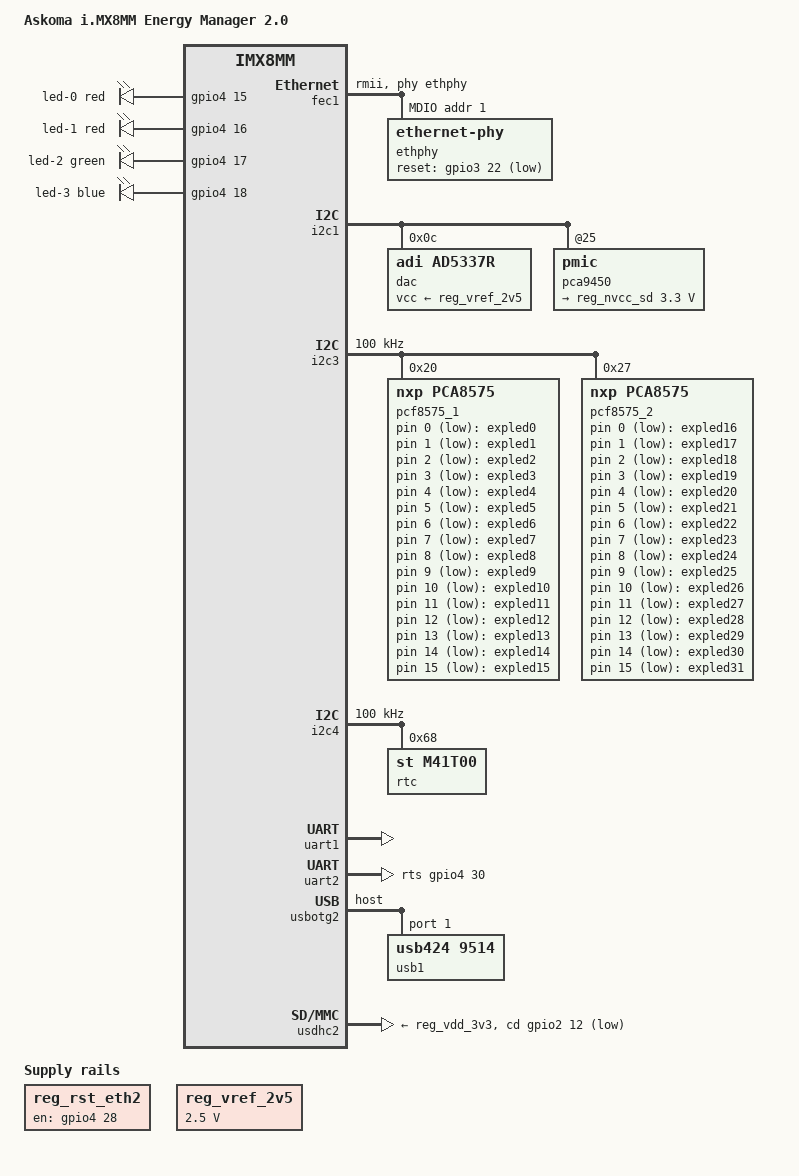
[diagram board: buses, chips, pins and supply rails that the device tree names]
// SPDX-License-Identifier: GPL-2.0+ OR MIT
/*
 * Copyright (C) 2019 Kontron Electronics GmbH
 */

/dts-v1/;

#include "imx8mm-kontron-n801x-som.dtsi"
#include <dt-bindings/leds/common.h>
/ {
	model = "Askoma i.MX8MM Energy Manager 2.0";
	compatible = "askoma,imx8mm-energy-manager", "kontron,imx8mm-n801x-som", "fsl,imx8mm";

	aliases {
		ethernet1 = &usbnet;
		mmc0 = &usdhc1;
		mmc1 = &usdhc2;
	};

	led-controller {
		compatible = "gpio-leds";
		pinctrl-names = "default";
		pinctrl-0 = <&pinctrl_gpio_leds>;

		led-0 {
			function = LED_FUNCTION_STATUS;
			color = <LED_COLOR_ID_RED>;
			gpios = <&gpio4 15 GPIO_ACTIVE_HIGH>;
			default-state = "on";
			linux,default-trigger = "off";
		};

		led-1 {
			function = LED_FUNCTION_STATUS;
			color = <LED_COLOR_ID_RED>;
			gpios = <&gpio4 16 GPIO_ACTIVE_HIGH>;
			default-state = "off";
		};

		led-2 {
			function = LED_FUNCTION_STATUS;
			color = <LED_COLOR_ID_GREEN>;
			gpios = <&gpio4 17 GPIO_ACTIVE_HIGH>;
			default-state = "off";
		};

		led-3 {
			function = LED_FUNCTION_STATUS;
			color = <LED_COLOR_ID_BLUE>;
			gpios = <&gpio4 18 GPIO_ACTIVE_HIGH>;
			default-state = "off";
		};

		expander-led0 {
			label = "expled0";
			gpios = <&pcf8575_1 0 GPIO_ACTIVE_LOW>;
		};

		expander-led1 {
			label = "expled1";
			gpios = <&pcf8575_1 1 GPIO_ACTIVE_LOW>;
		};

		expander-led2 {
			label = "expled2";
			gpios = <&pcf8575_1 2 GPIO_ACTIVE_LOW>;
		};

		expander-led3 {
			label = "expled3";
			gpios = <&pcf8575_1 3 GPIO_ACTIVE_LOW>;
		};

		expander-led4 {
			label = "expled4";
			gpios = <&pcf8575_1 4 GPIO_ACTIVE_LOW>;
		};

		expander-led5 {
			label = "expled5";
			gpios = <&pcf8575_1 5 GPIO_ACTIVE_LOW>;
		};

		expander-led6 {
			label = "expled6";
			gpios = <&pcf8575_1 6 GPIO_ACTIVE_LOW>;
		};

		expander-led7 {
			label = "expled7";
			gpios = <&pcf8575_1 7 GPIO_ACTIVE_LOW>;
		};

		expander-led8 {
			label = "expled8";
			gpios = <&pcf8575_1 8 GPIO_ACTIVE_LOW>;
		};

		expander-led9 {
			label = "expled9";
			gpios = <&pcf8575_1 9 GPIO_ACTIVE_LOW>;
		};

		expander-led10 {
			label = "expled10";
			gpios = <&pcf8575_1 10 GPIO_ACTIVE_LOW>;
		};

		expander-led11 {
			label = "expled11";
			gpios = <&pcf8575_1 11 GPIO_ACTIVE_LOW>;
		};

		expander-led12 {
			label = "expled12";
			gpios = <&pcf8575_1 12 GPIO_ACTIVE_LOW>;
		};

		expander-led13 {
			label = "expled13";
			gpios = <&pcf8575_1 13 GPIO_ACTIVE_LOW>;
		};

		expander-led14 {
			label = "expled14";
			gpios = <&pcf8575_1 14 GPIO_ACTIVE_LOW>;
		};

		expander-led15 {
			label = "expled15";
			gpios = <&pcf8575_1 15 GPIO_ACTIVE_LOW>;
		};

		expander-led16 {
			label = "expled16";
			gpios = <&pcf8575_2 0 GPIO_ACTIVE_LOW>;
		};

		expander-led17 {
			label = "expled17";
			gpios = <&pcf8575_2 1 GPIO_ACTIVE_LOW>;
		};

		expander-led18 {
			label = "expled18";
			gpios = <&pcf8575_2 2 GPIO_ACTIVE_LOW>;
		};

		expander-led19 {
			label = "expled19";
			gpios = <&pcf8575_2 3 GPIO_ACTIVE_LOW>;
		};

		expander-led20 {
			label = "expled20";
			gpios = <&pcf8575_2 4 GPIO_ACTIVE_LOW>;
		};

		expander-led21 {
			label = "expled21";
			gpios = <&pcf8575_2 5 GPIO_ACTIVE_LOW>;
		};

		expander-led22 {
			label = "expled22";
			gpios = <&pcf8575_2 6 GPIO_ACTIVE_LOW>;
		};

		expander-led23 {
			label = "expled23";
			gpios = <&pcf8575_2 7 GPIO_ACTIVE_LOW>;
		};

		expander-led24 {
			label = "expled24";
			gpios = <&pcf8575_2 8 GPIO_ACTIVE_LOW>;
		};

		expander-led25 {
			label = "expled25";
			gpios = <&pcf8575_2 9 GPIO_ACTIVE_LOW>;
		};

		expander-led26 {
			label = "expled26";
			gpios = <&pcf8575_2 10 GPIO_ACTIVE_LOW>;
		};

		expander-led27 {
			label = "expled27";
			gpios = <&pcf8575_2 11 GPIO_ACTIVE_LOW>;
		};

		expander-led28 {
			label = "expled28";
			gpios = <&pcf8575_2 12 GPIO_ACTIVE_LOW>;
		};

		expander-led29 {
			label = "expled29";
			gpios = <&pcf8575_2 13 GPIO_ACTIVE_LOW>;
		};

		expander-led30 {
			label = "expled30";
			gpios = <&pcf8575_2 14 GPIO_ACTIVE_LOW>;
		};

		expander-led31 {
			label = "expled31";
			gpios = <&pcf8575_2 15 GPIO_ACTIVE_LOW>;
		};
	};

	reg_rst_eth2: regulator-rst-eth2 {
		compatible = "regulator-fixed";
		regulator-name = "rst-usb-eth2";
		pinctrl-names = "default";
		pinctrl-0 = <&pinctrl_usb_eth2>;
		gpio = <&gpio4 28 GPIO_ACTIVE_HIGH>;
		enable-active-high;
		regulator-always-on;
	};

	reg_vref_2v5: regulator-vref-2v5 {
		compatible = "regulator-fixed";
		regulator-name = "vref-25v";
		regulator-min-microvolt = <2500000>;
		regulator-max-microvolt = <2500000>;
	};
};

&fec1 {
	pinctrl-names = "default";
	pinctrl-0 = <&pinctrl_enet>;
	phy-connection-type = "rmii";
	phy-handle = <&ethphy>;
	clocks = <&clk IMX8MM_CLK_ENET1_ROOT>,
		 <&clk IMX8MM_CLK_ENET1_ROOT>,
		 <&clk IMX8MM_CLK_ENET_TIMER>,
		 <&clk IMX8MM_CLK_ENET_REF>,
		 <&clk IMX8MM_CLK_ENET_PHY_REF>;
	clock-names = "ipg", "ahb", "ptp",
		      "enet_clk_ref", "enet_out";
	assigned-clocks = <&clk IMX8MM_CLK_ENET_AXI>,
			  <&clk IMX8MM_CLK_ENET_TIMER>,
			  <&clk IMX8MM_CLK_ENET_REF>,
			  <&clk IMX8MM_CLK_ENET_PHY_REF>;
	assigned-clock-parents = <&clk IMX8MM_SYS_PLL1_266M>,
				 <&clk IMX8MM_SYS_PLL2_100M>,
				 <&clk IMX8MM_SYS_PLL2_50M>,
				 <&clk IMX8MM_SYS_PLL2_50M>;
	assigned-clock-rates = <0>, <100000000>, <50000000>, <0>;
	status = "okay";

	mdio {
		#address-cells = <1>;
		#size-cells = <0>;

		ethphy: ethernet-phy@1 {
			reg = <1>;
			reset-assert-us = <100>;
			reset-gpios = <&gpio3 22 GPIO_ACTIVE_LOW>;
			max-speed = <100>;
		};
	};
};


&i2c1 {
	dac@c {
		compatible = "adi,ad5337r";
		reg = <0xc>;
		#io-channel-cells = <0>;
		vcc-supply = <&reg_vref_2v5>;
	};

	pca9450: pmic@25 {
		regulators {
			reg_nvcc_sd: LDO5 {
				regulator-name = "ldo5";
				regulator-min-microvolt = <3300000>;
				regulator-max-microvolt = <3300000>;
			};
		};
	};
};

&i2c3 {
	clock-frequency = <100000>;
	pinctrl-names = "default";
	pinctrl-0 = <&pinctrl_i2c3>;
	status = "okay";

	pcf8575_1: gpio@20 {
		compatible = "nxp,pca8575";
		reg = <0x20>;
		gpio-controller;
		#gpio-cells = <2>;
	};

	pcf8575_2: gpio@27 {
		compatible = "nxp,pca8575";
		reg = <0x27>;
		gpio-controller;
		#gpio-cells = <2>;
	};
};

&i2c4 {
	clock-frequency = <100000>;
	pinctrl-names = "default";
	pinctrl-0 = <&pinctrl_i2c4>;
	status = "okay";

	rtc@68 {
		compatible = "st,m41t00";
		reg = <0x68>;
	};
};

&snvs_rtc {
	status = "disabled";
};

&uart1 {
	pinctrl-names = "default";
	pinctrl-0 = <&pinctrl_uart1>;
	uart-has-rtscts;
	status = "okay";
};

&uart2 {
	pinctrl-names = "default";
	pinctrl-0 = <&pinctrl_uart2>;
	rts-gpios = <&gpio4 30 GPIO_ACTIVE_HIGH>;
	linux,rs485-enabled-at-boot-time;
	rs485-rx-during-tx;
	status = "okay";
};

&usbotg2 {
	dr_mode = "host";
	disable-over-current;
	#address-cells = <1>;
	#size-cells = <0>;
	status = "okay";

	usb1@1 {
		compatible = "usb424,9514";
		reg = <1>;
		#address-cells = <1>;
		#size-cells = <0>;

		usbnet: ethernet@1 {
			compatible = "usb424,ec00";
			reg = <1>;
			local-mac-address = [ 00 00 00 00 00 00 ];
		};
	};
};

&usdhc2 {
	pinctrl-names = "default", "state_100mhz", "state_200mhz";
	pinctrl-0 = <&pinctrl_usdhc2>;
	pinctrl-1 = <&pinctrl_usdhc2_100mhz>;
	pinctrl-2 = <&pinctrl_usdhc2_200mhz>;
	vmmc-supply = <&reg_vdd_3v3>;
	vqmmc-supply = <&reg_nvcc_sd>;
	cd-gpios = <&gpio2 12 GPIO_ACTIVE_LOW>;
	status = "okay";
};

&iomuxc {
	pinctrl-names = "default";
	pinctrl-0 = <&pinctrl_hog>;

	pinctrl_hog: hoggrp {
		fsl,pins = <
			MX8MM_IOMUXC_SAI2_TXD0_GPIO4_IO26		0x16 /* REL_1 */
			MX8MM_IOMUXC_SAI2_TXC_GPIO4_IO25		0x16 /* REL_2 */
			MX8MM_IOMUXC_SAI5_RXD0_GPIO3_IO21		0x156 /* IN_1 */
			MX8MM_IOMUXC_SAI5_RXFS_GPIO3_IO19		0x156 /* IN_2 */
		>;
	};

	pinctrl_enet: enetgrp {
		fsl,pins = <
			MX8MM_IOMUXC_ENET_MDC_ENET1_MDC		0x3
			MX8MM_IOMUXC_ENET_MDIO_ENET1_MDIO		0x3
			MX8MM_IOMUXC_ENET_RD0_ENET1_RGMII_RD0		0x91
			MX8MM_IOMUXC_ENET_RD1_ENET1_RGMII_RD1		0x91
			MX8MM_IOMUXC_ENET_TD0_ENET1_RGMII_TD0		0x1f
			MX8MM_IOMUXC_ENET_TD1_ENET1_RGMII_TD1		0x1f
			MX8MM_IOMUXC_ENET_TD2_ENET1_TX_CLK		0x1f
			MX8MM_IOMUXC_ENET_TX_CTL_ENET1_RGMII_TX_CTL	0x1f
			MX8MM_IOMUXC_ENET_RX_CTL_ENET1_RGMII_RX_CTL	0x91
			MX8MM_IOMUXC_ENET_TXC_ENET1_TX_ER		0x91
			MX8MM_IOMUXC_ENET_RXC_ENET1_RX_ER		0x91
			MX8MM_IOMUXC_SAI5_RXD1_GPIO3_IO22		0x19
		>;
	};

	pinctrl_gpio_leds: gpioledgrp {
		fsl,pins = <
			MX8MM_IOMUXC_SAI1_TXD3_GPIO4_IO15		0x19
			MX8MM_IOMUXC_SAI1_TXD4_GPIO4_IO16		0x19
			MX8MM_IOMUXC_SAI1_TXD5_GPIO4_IO17		0x19
			MX8MM_IOMUXC_SAI1_TXD6_GPIO4_IO18		0x19
		>;
	};

	pinctrl_i2c3: i2c3grp {
		fsl,pins = <
			MX8MM_IOMUXC_I2C3_SCL_I2C3_SCL		0x400001c3
			MX8MM_IOMUXC_I2C3_SDA_I2C3_SDA		0x400001c3
		>;
	};

	pinctrl_i2c4: i2c4grp {
		fsl,pins = <
			MX8MM_IOMUXC_I2C4_SCL_I2C4_SCL		0x400001c3
			MX8MM_IOMUXC_I2C4_SDA_I2C4_SDA		0x400001c3
		>;
	};

	pinctrl_uart1: uart1grp {
		fsl,pins = <
			MX8MM_IOMUXC_SAI2_RXC_UART1_DCE_RX		0x140
			MX8MM_IOMUXC_SAI2_RXFS_UART1_DCE_TX		0x140
			MX8MM_IOMUXC_SAI2_RXD0_UART1_DCE_RTS_B	0x140
			MX8MM_IOMUXC_SAI2_TXFS_UART1_DCE_CTS_B	0x140
		>;
	};

	pinctrl_uart2: uart2grp {
		fsl,pins = <
			MX8MM_IOMUXC_SAI3_TXFS_UART2_DCE_RX		0x140
			MX8MM_IOMUXC_SAI3_TXC_UART2_DCE_TX		0x140
			MX8MM_IOMUXC_SAI3_RXD_GPIO4_IO30		0x140
		>;
	};

	pinctrl_usb_eth2: usbeth2grp {
		fsl,pins = <
			MX8MM_IOMUXC_SAI3_RXFS_GPIO4_IO28		0x19
		>;
	};

	pinctrl_usdhc2: usdhc2grp {
		fsl,pins = <
			MX8MM_IOMUXC_SD2_CLK_USDHC2_CLK		0x190
			MX8MM_IOMUXC_SD2_CMD_USDHC2_CMD		0x1d0
			MX8MM_IOMUXC_SD2_DATA0_USDHC2_DATA0		0x1d0
			MX8MM_IOMUXC_SD2_DATA1_USDHC2_DATA1		0x1d0
			MX8MM_IOMUXC_SD2_DATA2_USDHC2_DATA2		0x1d0
			MX8MM_IOMUXC_SD2_DATA3_USDHC2_DATA3		0x1d0
			MX8MM_IOMUXC_SD2_CD_B_GPIO2_IO12		0x019
			MX8MM_IOMUXC_GPIO1_IO04_USDHC2_VSELECT	0x1d0
		>;
	};

	pinctrl_usdhc2_100mhz: usdhc2-100mhzgrp {
		fsl,pins = <
			MX8MM_IOMUXC_SD2_CLK_USDHC2_CLK		0x194
			MX8MM_IOMUXC_SD2_CMD_USDHC2_CMD		0x1d4
			MX8MM_IOMUXC_SD2_DATA0_USDHC2_DATA0		0x1d4
			MX8MM_IOMUXC_SD2_DATA1_USDHC2_DATA1		0x1d4
			MX8MM_IOMUXC_SD2_DATA2_USDHC2_DATA2		0x1d4
			MX8MM_IOMUXC_SD2_DATA3_USDHC2_DATA3		0x1d4
			MX8MM_IOMUXC_SD2_CD_B_GPIO2_IO12		0x019
			MX8MM_IOMUXC_GPIO1_IO04_USDHC2_VSELECT	0x1d0
		>;
	};

	pinctrl_usdhc2_200mhz: usdhc2-200mhzgrp {
		fsl,pins = <
			MX8MM_IOMUXC_SD2_CLK_USDHC2_CLK		0x196
			MX8MM_IOMUXC_SD2_CMD_USDHC2_CMD		0x1d6
			MX8MM_IOMUXC_SD2_DATA0_USDHC2_DATA0		0x1d6
			MX8MM_IOMUXC_SD2_DATA1_USDHC2_DATA1		0x1d6
			MX8MM_IOMUXC_SD2_DATA2_USDHC2_DATA2		0x1d6
			MX8MM_IOMUXC_SD2_DATA3_USDHC2_DATA3		0x1d6
			MX8MM_IOMUXC_SD2_CD_B_GPIO2_IO12		0x019
			MX8MM_IOMUXC_GPIO1_IO04_USDHC2_VSELECT	0x1d0
		>;
	};
};
